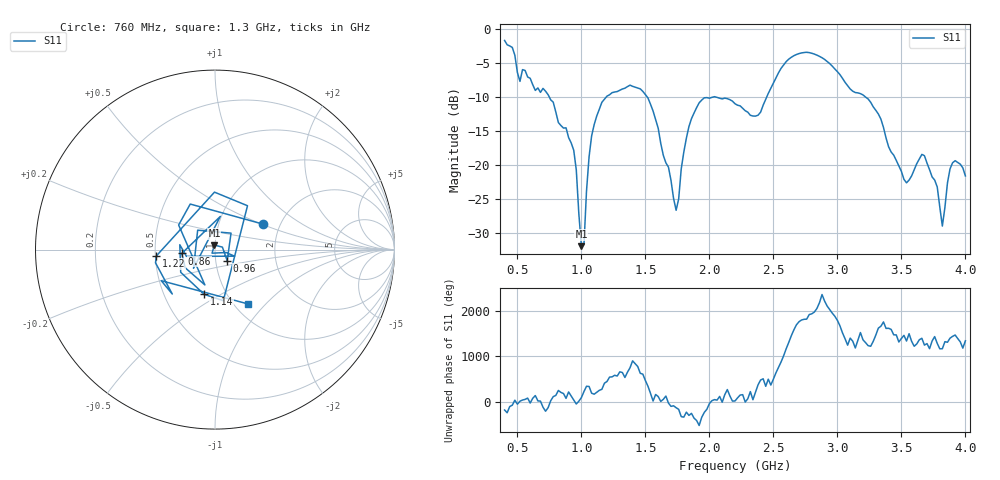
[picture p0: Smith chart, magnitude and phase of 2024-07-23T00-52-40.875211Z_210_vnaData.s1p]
!Created with skrf (http://scikit-rf.org).
# Hz S RI R 50.0
!freq ReS11 ImS11
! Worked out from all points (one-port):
!   181 points, 400 MHz to 4 GHz, reference 50 ohm
!   lowest |S11| = -32.0 dB at 1 GHz (marker M1), VSWR 1.05, Z = 49.6 + j2.48 ohm
!   |S11| at or under -10 dB: 748.4 MHz to 1.195 GHz (446.8 MHz wide, 46 % of centre); 1.514 GHz to 2.035 GHz (521.4 MHz wide, 29.4 % of centre); 3.218 GHz to end of sweep (the widest 3 of 4)
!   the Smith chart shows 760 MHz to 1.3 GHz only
!   S11 on the Smith chart (normalised r, x): 760 MHz: 1.62, +0.51; 860 MHz: 0.69, -0.03; 960 MHz: 1.14, -0.14; 1.14 GHz: 0.79, -0.42; 1.22 GHz: 0.51, -0.04; 1.3 GHz: 1.15, -0.80
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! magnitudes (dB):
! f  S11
! 400 MHz  -1.7
! 520 MHz  -7.7
! 760 MHz  -10.4
! 860 MHz  -14.6
! 960 MHz  -20.7
! 1 GHz  -32.0
! 1.02 GHz  -31.7
! 1.04 GHz  -23.8
! 1.08 GHz  -15.7
! 1.14 GHz  -11.8
! 1.22 GHz  -9.7
! 1.3 GHz  -9.0
! 1.52 GHz  -10.2
! 1.74 GHz  -26.7
! 1.76 GHz  -25.0
! 1.82 GHz  -16.1
! 1.92 GHz  -10.9
! 2.2 GHz  -11.0
! 2.38 GHz  -12.7
! 2.66 GHz  -3.9
! 3.1 GHz  -8.8
! 3.32 GHz  -12.5
! 3.56 GHz  -22.2
! 3.68 GHz  -18.7
! 3.78 GHz  -23.3
! 3.82 GHz  -29.0
! 3.9 GHz  -19.7
! 4 GHz  -21.6
